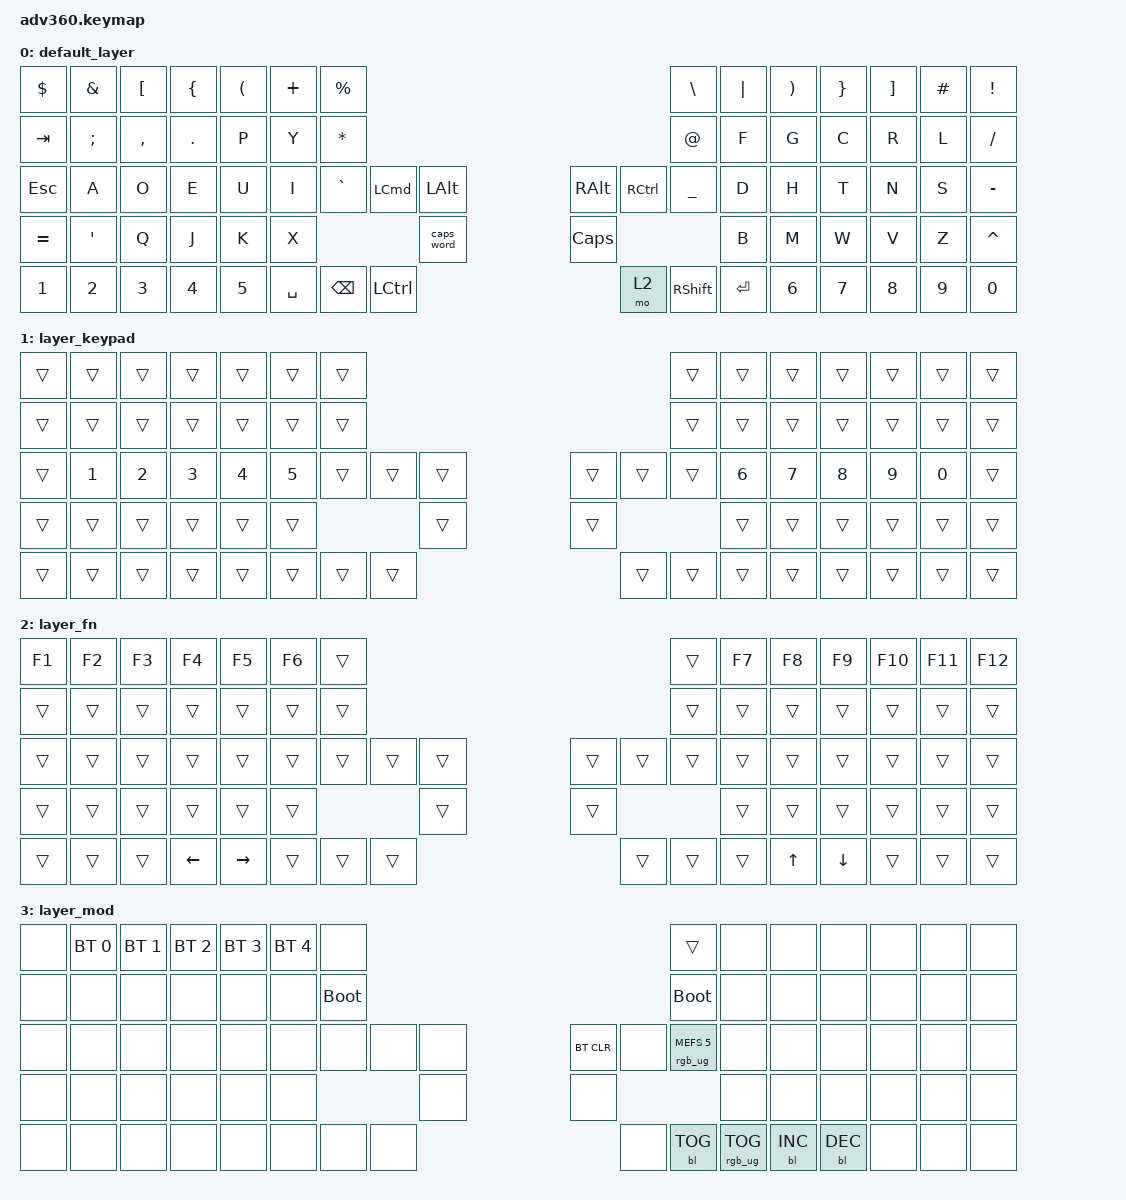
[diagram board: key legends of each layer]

/*
 * Copyright (c) 2020 The ZMK Contributors
 *
 * SPDX-License-Identifier: MIT
 */


/* THIS FILE WAS GENERATED!
 *
 * This file was generated automatically. You may or may not want to
 * edit it directly.
 */

#include <behaviors.dtsi>
#include <dt-bindings/zmk/keys.h>
#include <dt-bindings/zmk/bt.h>
#include <dt-bindings/zmk/rgb.h>
#include <dt-bindings/zmk/backlight.h>

/ {
  behaviors {
    #include "macros.dtsi"

    hm: homerow_mods {
        compatible = "zmk,behavior-hold-tap";
        label = "HOMEROW_MODS";
        #binding-cells = <2>;
        tapping-term-ms = <200>;
        quick_tap_ms = <175>;
        flavor = "tap-preferred";
        bindings = <&kp>, <&kp>;
    };
  };

    keymap {
        compatible = "zmk,keymap";


        default_layer {
            bindings = <
   &kp DOLLAR     &kp AMPERSAND  &kp LEFT_BRACKET  &kp LEFT_BRACE  &kp LEFT_PARENTHESIS  &kp PLUS             &kp PERCENT                                                                                         &kp BACKSLASH  &kp PIPE  &kp RIGHT_PARENTHESIS  &kp RIGHT_BRACE  &kp RIGHT_BRACKET      &kp HASH  &kp EXCLAMATION
      &kp TAB     &kp SEMICOLON         &kp COMMA      &kp PERIOD                 &kp P     &kp Y            &kp ASTERISK                                                                                                &kp AT     &kp F                  &kp G            &kp C              &kp R         &kp L        &kp SLASH
      &kp ESC             &kp A             &kp O           &kp E                 &kp U     &kp I               &kp GRAVE  &kp LEFT_COMMAND          &kp LALT                  &kp RIGHT_ALT  &kp RIGHT_CONTROL  &kp UNDERSCORE     &kp D                  &kp H            &kp T              &kp N         &kp S        &kp MINUS
    &kp EQUAL  &kp SINGLE_QUOTE             &kp Q           &kp J                 &kp K     &kp X                                                  &caps_word                   &kp CAPSLOCK                                        &kp B                  &kp M            &kp W              &kp V         &kp Z        &kp CARET
 &kp NUMBER_1      &kp NUMBER_2      &kp NUMBER_3    &kp NUMBER_4          &kp NUMBER_5                         &kp SPACE     &kp BACKSPACE  &kp LEFT_CONTROL                          &mo 2    &kp RIGHT_SHIFT       &kp ENTER                     &kp NUMBER_6     &kp NUMBER_7       &kp NUMBER_8  &kp NUMBER_9     &kp NUMBER_0
            >;
        };

        layer_keypad {
            bindings = <
 &trans        &trans        &trans        &trans        &trans        &trans            &trans                                                  &trans        &trans        &trans        &trans        &trans        &trans  &trans
 &trans        &trans        &trans        &trans        &trans        &trans            &trans                                                  &trans        &trans        &trans        &trans        &trans        &trans  &trans
 &trans  &kp NUMBER_1  &kp NUMBER_2  &kp NUMBER_3  &kp NUMBER_4  &kp NUMBER_5            &trans  &trans  &trans                  &trans  &trans  &trans  &kp NUMBER_6  &kp NUMBER_7  &kp NUMBER_8  &kp NUMBER_9  &kp NUMBER_0  &trans
 &trans        &trans        &trans        &trans        &trans        &trans                            &trans                  &trans                        &trans        &trans        &trans        &trans        &trans  &trans
 &trans        &trans        &trans        &trans        &trans                          &trans  &trans  &trans                  &trans  &trans  &trans                      &trans        &trans        &trans        &trans  &trans
            >;
        };

        layer_fn {
            bindings = <
 &kp F1  &kp F2  &kp F3    &kp F4     &kp F5  &kp F6            &trans                                                  &trans  &kp F7  &kp F8          &kp F9  &kp F10  &kp F11  &kp F12
 &trans  &trans  &trans    &trans     &trans  &trans            &trans                                                  &trans  &trans  &trans          &trans   &trans   &trans   &trans
 &trans  &trans  &trans    &trans     &trans  &trans            &trans  &trans  &trans                  &trans  &trans  &trans  &trans  &trans          &trans   &trans   &trans   &trans
 &trans  &trans  &trans    &trans     &trans  &trans                            &trans                  &trans                  &trans  &trans          &trans   &trans   &trans   &trans
 &trans  &trans  &trans  &kp LEFT  &kp RIGHT                    &trans  &trans  &trans                  &trans  &trans  &trans          &kp UP  &kp DOWN_ARROW   &trans   &trans   &trans
            >;
        };

        layer_mod {
            bindings = <
  &none  &bt BT_SEL 0  &bt BT_SEL 1  &bt BT_SEL 2  &bt BT_SEL 3  &bt BT_SEL 4                  &none                                                                          &trans   &none       &none       &none   &none   &none   &none
  &none         &none         &none         &none         &none         &none            &bootloader                                                                     &bootloader   &none       &none       &none   &none   &none   &none
  &none         &none         &none         &none         &none         &none                  &none   &none   &none                  &bt BT_CLR       &none  &rgb_ug RGB_MEFS_CMD 5   &none       &none       &none   &none   &none   &none
  &none         &none         &none         &none         &none         &none                                  &none                       &none                                       &none       &none       &none   &none   &none   &none
  &none         &none         &none         &none         &none                                &none   &none   &none                       &none  &bl BL_TOG         &rgb_ug RGB_TOG          &bl BL_INC  &bl BL_DEC   &none   &none   &none
            >;
        };

    };
};
